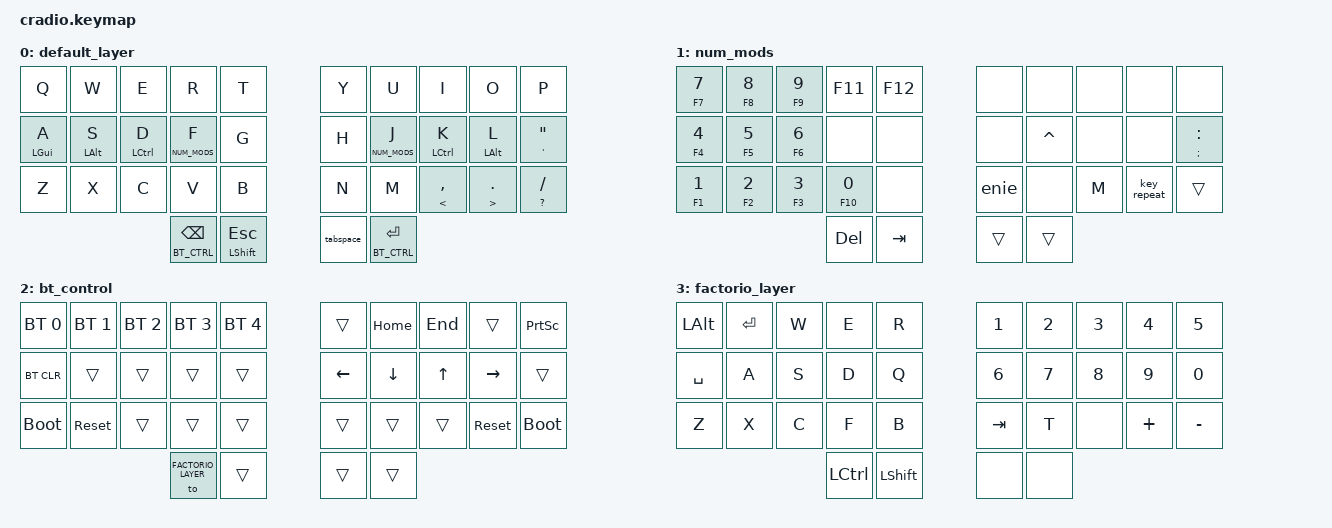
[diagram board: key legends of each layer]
/*
 * Copyright (c) 2020 The ZMK Contributors
 *
 * SPDX-License-Identifier: MIT
 */

#include <behaviors.dtsi>
#include <dt-bindings/zmk/keys.h>
#include <dt-bindings/zmk/bt.h>
#include <dt-bindings/zmk/rgb.h>

#define DEFAULT  0
#define NUM_MODS 1
#define BT_CTRL  2
#define FACTORIO_LAYER  3


#define CE 2
#define CR 3
#define CT 4
#define CU 6
#define CI 7
#define CO 8
#define CP 9
#define CD 12
#define CF 13
#define CG 14
#define CH 15
#define CJ 16
#define CK 17
#define CC 22
#define CV 23
#define CM 26
#define CCOMMA 27

#define QUICK_TAP_MS 150

&lt {
    quick_tap_ms = <QUICK_TAP_MS>;
};

&mt {
    quick_tap_ms = <QUICK_TAP_MS>;
};

/ {
    macros {
        ZMK_MACRO(enie_lower,
            wait-ms = <20>;
            tap-ms = <20>;
            bindings
                = <&macro_press   &kp LALT>
                , <&macro_tap     &kp KP_N0 &kp KP_N2 &kp KP_N4 &kp KP_N1>
                , <&macro_release &kp LALT>
                ;
        )
        ZMK_MACRO(enie_upper,
            wait-ms = <20>;
            tap-ms = <20>;
            bindings
                = <&macro_press   &kp LALT>
                , <&macro_tap     &kp KP_N0 &kp KP_N2 &kp KP_N0 &kp KP_N9>
                , <&macro_release &kp LALT>
                ;
        )
        ZMK_MACRO(at_at,
            wait-ms = <30>;
            tap-ms = <30>;
            bindings
                = <&kp AT &kp AT>
                ;
        )
    };

    combos {
        compatible = "zmk,combos";
        combo_at {
            timeout-ms = <50>;
            key-positions = <CD CF>; // KP: D F
            bindings = <&kp AT>;
            layers = <DEFAULT>;
        };
        combo_tab {
            timeout-ms = <50>;
            key-positions = <CJ CK>; // KP: J K
            bindings = <&kp TAB>;
            layers = <DEFAULT>;
        };
        combo_lpar {
            timeout-ms = <50>;
            key-positions = <CD CV>; // KP: D V
            bindings = <&kp LPAR>;
            layers = <DEFAULT>;
        };
        combo_rpar {
            timeout-ms = <50>;
            key-positions = <CK CM>; // KP: K M
            bindings = <&kp RPAR>;
            layers = <DEFAULT>;
        };
        combo_minus {
            timeout-ms = <50>;
            key-positions = <CE CF>; // KP: E F
            bindings = <&mt UNDER MINUS>;
            layers = <DEFAULT>;
        };
        combo_amps {
            timeout-ms = <50>;
            key-positions = <CF CJ>; // KP: F J
            bindings = <&kp AMPS>;
            layers = <DEFAULT>;
        };
        combo_EXCL {
            timeout-ms = <50>;
            key-positions = <CG CH>; // KP: G H
            bindings = <&kp EXCL>;
            layers = <DEFAULT>;
        };
        combo_equal {
            timeout-ms = <50>;
            key-positions = <CI CJ>; // KP: I J
            bindings = <&mt PLUS EQUAL>;
            layers = <DEFAULT>;
        };
        combo_dollar {
            timeout-ms = <50>;
            key-positions = <CE CR>;
            bindings = <&kp DLLR>; // KP: E R
            layers = <DEFAULT>;
        };
        combo_percent {
            timeout-ms = <50>;
            key-positions = <CU CI>; // KP: U I
            bindings = <&kp PRCNT>;
            layers = <DEFAULT>;
        };
        combo_grave {
            timeout-ms = <50>;
            key-positions = <CM CCOMMA>; // KP: M ,
            bindings = <&mt TILDE GRAVE>;
            layers = <DEFAULT>;
        };
        combo_pipe {
            timeout-ms = <50>;
            key-positions = <CC CV>; // KP: C V
            bindings = <&mt BSLH PIPE>;
            layers = <DEFAULT>;
        };
        combo_lbkt2 {
            timeout-ms = <50>;
            key-positions = <CD CG>; // KP: D G
            bindings = <&mt LBRC LBKT>;
            layers = <DEFAULT>;
        };
        combo_rbkt2 {
            timeout-ms = <50>;
            key-positions = <CH CK>; // KP: H K
            bindings = <&mt RBRC RBKT>;
            layers = <DEFAULT>;
        };
        combo_under {
            timeout-ms = <50>;
            key-positions = <CR CD>; // KP: R D
            bindings = <&kp UNDER>;
            layers = <DEFAULT>;
        };
        combo_plus {
            timeout-ms = <50>;
            key-positions = <CU CK>; // KP: U K
            bindings = <&kp PLUS>;
            layers = <DEFAULT>;
        };
        combo_hash {
            timeout-ms = <50>;
            key-positions = <CR CJ>; // KP: R J
            bindings = <&kp HASH>;
            layers = <DEFAULT>;
        };
        combo_star {
            timeout-ms = <50>;
            key-positions = <CU CF>; // KP: U F
            bindings = <&kp STAR>;
            layers = <DEFAULT>;
        };

        combo_at_at {
            timeout-ms = <50>;
            key-positions = <CD CF>; // KP: D F
            bindings = <&at_at>;
            layers = <NUM_MODS>;
        };
         combo_esc {           
            timeout-ms = <50>;
            key-positions = <CD CT>; // KP: D T
            bindings = <&mt LSHIFT ESC>;
            layers = <DEFAULT>;
        };
        combo_default_layer {           
            timeout-ms = <50>;
            key-positions = <CU CI CO CP>; // KP: U I O P
            bindings = <&to DEFAULT>;
        };
        combo_factorio_tab {
            timeout-ms = <100>;
            key-positions = <CD CF>; // KP: D F
            bindings = <&kp TAB>;
            layers = <FACTORIO_LAYER>;
        };
        combo_factorio_esc {
            timeout-ms = <100>;
            key-positions = <CE CR>; // KP: E R
            bindings = <&kp ESC>;
            layers = <FACTORIO_LAYER>;
        };
    };

    behaviors {
            hm: homerow_mods {
                    compatible = "zmk,behavior-hold-tap";
                    label = "HOMEROW_MODS";
                    #binding-cells = <2>;
                    tapping-term-ms = <250>;
                    quick-tap-ms = <QUICK_TAP_MS>;
                    flavor = "tap-preferred";
                    bindings = <&kp>, <&kp>;
            };
            hl: homerow_layers {
                    compatible = "zmk,behavior-hold-tap";
                    label = "HOMEROW_LAYERS";
                    #binding-cells = <2>;
                    tapping-term-ms = <150>;
                    quick-tap-ms = <QUICK_TAP_MS>;
                    flavor = "tap-preferred";
                    bindings = <&mo>, <&kp>;
            };
            tabspace: tab_space  {
                    compatible = "zmk,behavior-mod-morph";
                    label = "TAB_SPACE";
                    #binding-cells = <0>;
                    bindings = <&mt LSHIFT SPACE>, <&kp TAB>;
                    mods = <(MOD_LALT | MOD_RALT)>;
            };
            enie: enie  {
                    compatible = "zmk,behavior-mod-morph";
                    label = "ENIE";
                    #binding-cells = <0>;
                    bindings = <&enie_lower>, <&enie_upper>;
                    mods = <(MOD_LSFT | MOD_RSFT)>;
            };
    };


    keymap {
            compatible = "zmk,keymap";

            default_layer {
                    bindings = <
    &kp Q       &kp W      &kp E     &kp R              &kp T             &kp Y     &kp U              &kp I        &kp O      &kp P
    &hm LGUI A  &hm LALT S  &hm LCTRL D  &hl NUM_MODS F &kp G             &kp H     &hl NUM_MODS J     &hm LCTRL K  &hm LALT L &mt SQT DQT
    &kp Z       &kp X      &kp C     &kp V              &kp B             &kp N     &kp M              &mt LT COMMA &mt GT DOT &mt QMARK FSLH
                          &lt BT_CTRL BSPC    &mt LSHIFT ESC    &tabspace    &lt BT_CTRL ENTER
                    >;
            };

            num_mods {
                    bindings = <
    &mt F7 N7   &mt F8 N8   &mt F9 N9    &kp F11        &kp F12       &none        &none        &none        &none        &none
    &mt F4 N4   &mt F5 N5   &mt F6 N6    &none          &none         &none        &kp CARET    &none        &none        &mt SEMI COLON
    &mt F1 N1   &mt F2 N2   &mt F3 N3    &mt F10 N0     &none         &enie        &none        &kp M        &key_repeat  &trans
                                   &kp DEL  &kp TAB     &trans          &trans
                    >;
            };

            bt_control {
                    bindings = <
    &bt BT_SEL 0   &bt BT_SEL 1   &bt BT_SEL 2 &bt BT_SEL 3 &bt BT_SEL 4 &trans   &kp HOME   &kp END    &trans       &kp PSCRN
    &bt BT_CLR     &trans         &trans       &trans       &trans       &kp LEFT &kp DOWN   &kp UP     &kp RIGHT    &trans
    &bootloader    &sys_reset         &trans       &trans       &trans       &trans   &trans     &trans     &sys_reset       &bootloader
                                  &to FACTORIO_LAYER    &trans   &trans     &trans
                    >;
            };

            factorio_layer {
                    bindings = <
    &kp LALT    &kp ENTER  &kp W     &kp E       &kp R             &kp N1     &kp N2      &kp N3        &kp N4        &kp N5   
    &kp SPACE   &kp A      &kp S     &kp D       &kp Q             &kp N6     &kp N7      &kp N8      &kp N9        &kp N0       
    &kp Z       &kp X      &kp C     &kp F       &kp B             &kp TAB    &kp T          &none       &kp PLUS      &kp MINUS
                          &kp LCTRL    &kp LSHIFT                  &none    &none
                    >;
            };
            
    };

};
